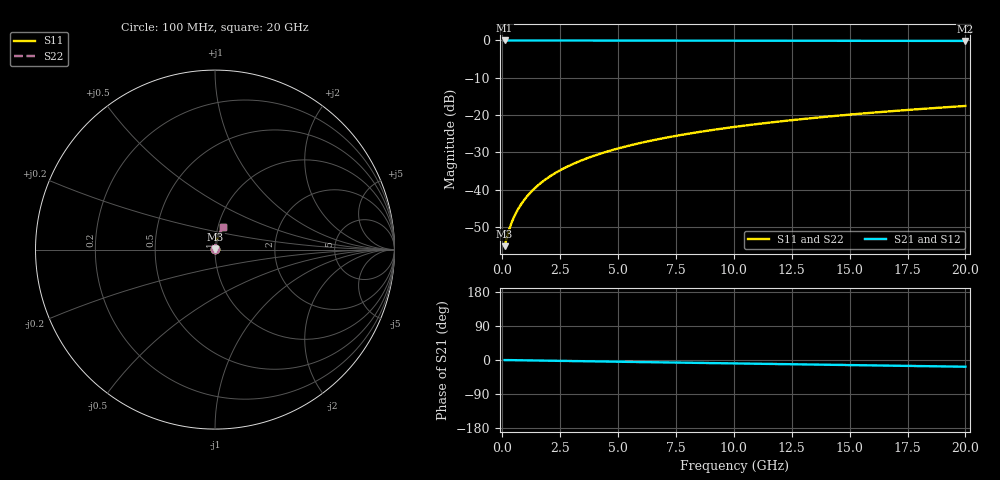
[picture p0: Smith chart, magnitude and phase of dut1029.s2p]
! Touchstone file exported from HFSS 2026.1.0
!  File:  C:/ffzhzh/LocalFiles/Ansys_Project_Files/temp_train_BSMRDL_1029_1783173574_51560.aedt
!  Generated:  10:00:46 PM Jul  4, 2026
!  Design:  BSMRDL
!  Project:  temp_train_BSMRDL_1029_1783173574_51560
! Variables:
!  h_bsmrdl = 3.67um
!  h_ox = 20um
!  h_rdl = 5um
!  h_sub = 80um
!  h_tmrdl = 5um
!  h_tsv = 80um
!  h_via = 3um
!  l_bsmrdl = 266.1um
!  l_sub = 666.1um
!  l_tmrdl = 200um
!  m_sub = 200um
!  pitch = 32.86um
!  r_tsv = 6um
!  s_tmrdl = 10um
!  w_bsmrdl = 19.53um
!  w_sub = 500um
!  w_tmrdl = 12um
!  x_tsv_center1 = 206um
!  x_tsv_center2 = 491.63um
!  x_tsv_center3 = 703.63um
!  x_tsv_center4 = 989.26um
!  x_tsv_center5 = 1201.26um
!  x_tsv_center6 = 1486.89um
# GHz S MA R 50.000000
! Terminal data exported
! Port[1] = BSM_RDL1_1_T1
! Port[2] = BSM_RDL1_1_T2
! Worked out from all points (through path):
!   200 points, 100 MHz to 20 GHz, reference 50 ohm
!   highest |S21| = -0.01 dB at 100 MHz (marker M1); lowest = -0.1 dB at 20 GHz (marker M2)
!   group delay of S21, straight-line fit = 2.46 ps
!   lowest |S11| = -55.2 dB at 100 MHz (marker M3), VSWR 1.00, Z = 50.2 + j0.0846 ohm
!   |S11| at or under -10 dB: start of sweep to end of sweep
!   |S22| runs from -55.2 to -17.6 dB; largest |S21 - S12| = 2.7e-15
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0.1  0.001738 29.0  0.9985 -0.1  0.9985 -0.1  0.001738 29.0
! Gamma 0 0 0 0
! Port Impedance 50 0 50 0
0.2  0.002297 45.7  0.9984 -0.2  0.9984 -0.2  0.002297 45.7
0.3  0.002935 54.6  0.9983 -0.3  0.9983 -0.3  0.002935 54.6
0.4  0.003586 60.2  0.9982 -0.4  0.9982 -0.4  0.003586 60.2
0.5  0.004242 64.2  0.9982 -0.5  0.9982 -0.5  0.004242 64.2
0.6  0.004904 67.1  0.9981 -0.6  0.9981 -0.6  0.004904 67.1
0.8  0.006248 71.3  0.998 -0.7  0.998 -0.7  0.006248 71.3
1  0.007615 74.1  0.998 -0.9  0.998 -0.9  0.007615 74.1
1.2  0.008998 76.0  0.9979 -1.1  0.9979 -1.1  0.008998 76.0
1.4  0.01039 77.3  0.9979 -1.3  0.9979 -1.3  0.01039 77.3
1.7  0.0125 78.7  0.9978 -1.6  0.9978 -1.6  0.0125 78.7
2.2  0.01602 80.0  0.9976 -2.0  0.9976 -2.0  0.01602 80.0
2.8  0.02024 80.7  0.9974 -2.6  0.9974 -2.6  0.02024 80.7
3.5  0.02514 80.9  0.9971 -3.2  0.9971 -3.2  0.02514 80.9
4.2  0.03001 80.8  0.9968 -3.8  0.9968 -3.8  0.03001 80.8
5  0.03553 80.5  0.9963 -4.6  0.9963 -4.6  0.03553 80.5
6.8  0.04778 79.4  0.9952 -6.2  0.9952 -6.2  0.04778 79.4
8.3  0.0578 78.4  0.9942 -7.5  0.9942 -7.5  0.0578 78.4
10.1  0.06964 77.0  0.9929 -9.1  0.9929 -9.1  0.06965 77.0
13.4  0.09094 74.5  0.9903 -12.0  0.9903 -12.0  0.09094 74.5
16.7  0.1118 71.9  0.9875 -14.9  0.9875 -14.9  0.1118 71.9
20  0.1321 69.3  0.9844 -17.8  0.9844 -17.8  0.1321 69.3
